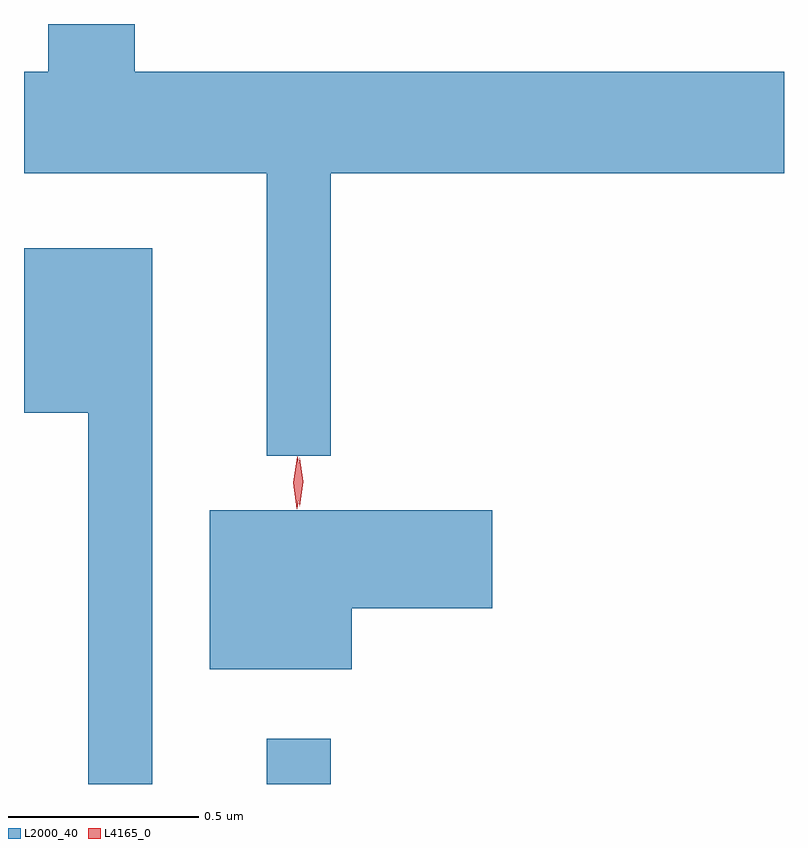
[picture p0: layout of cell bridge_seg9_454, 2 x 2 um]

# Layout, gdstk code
import gdstk
lib = gdstk.Library(unit=1e-6, precision=1e-09)
def R(c, l, rs):  # rectangles x0, y0, x1, y1
    for r in rs: c.add(gdstk.rectangle(r[:2], r[2:], *l))
def P(c, l, *ps):  # polygons
    for p in ps: c.add(gdstk.Polygon(p, *l))
L2000_40 = (2000, 40)
L4165_0 = (4165, 0)

bridge_seg9_454 = lib.new_cell('bridge_seg9_454')
R(bridge_seg9_454, L2000_40, [(240.061,2036.829,240.229,2036.948)])
P(bridge_seg9_454, L2000_40, [(240.229,2038.436),(241.422,2038.436),(241.422,2038.704),(239.714,2038.704),(239.714,2038.829),(239.486,2038.829),(239.486,2038.704),(239.422,2038.704),(239.422,2038.436),(240.061,2038.436),(240.061,2037.693),(240.229,2037.693)],
  [(239.759,2038.239),(239.422,2038.239),(239.422,2037.806),(239.591,2037.806),(239.591,2036.829),(239.759,2036.829)],
  [(240.284,2037.291),(240.654,2037.291),(240.654,2037.549),(239.911,2037.549),(239.911,2037.131),(240.284,2037.131)])
P(bridge_seg9_454, L4165_0, [(240.14,2037.554),(240.14,2037.554),(240.131,2037.622),(240.141,2037.69),(240.142,2037.69),(240.142,2037.69),(240.151,2037.622),(240.141,2037.554)],
  [(240.147,2037.56),(240.147,2037.56),(240.138,2037.624),(240.147,2037.686),(240.147,2037.687),(240.148,2037.686),(240.157,2037.624),(240.148,2037.56)])

lib.write_gds('bridge_seg9_454.gds')
